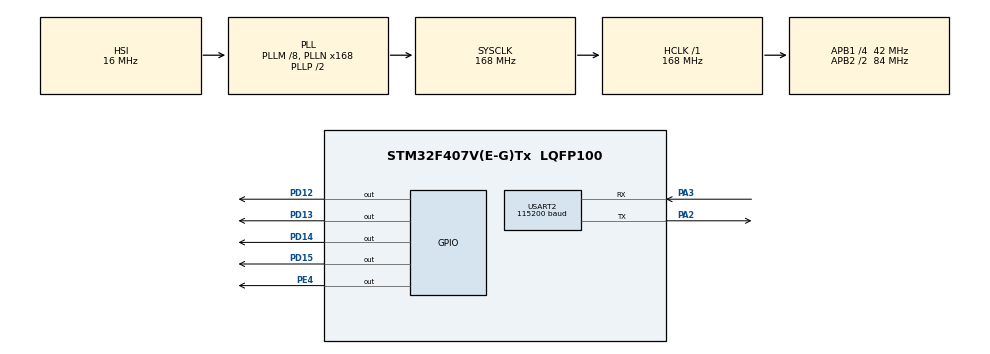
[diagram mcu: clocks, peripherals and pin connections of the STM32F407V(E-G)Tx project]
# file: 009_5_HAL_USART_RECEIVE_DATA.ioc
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Mcu.Family=STM32F4
Mcu.Name=STM32F407V(E-G)Tx
Mcu.Package=LQFP100
NVIC.PriorityGroup=NVIC_PRIORITYGROUP_4
PA2.Mode=Asynchronous
PA2.Signal=USART2_TX
PA3.Mode=Asynchronous
PA3.Signal=USART2_RX
PD12.Signal=GPIO_Output
PD13.Signal=GPIO_Output
PD14.Signal=GPIO_Output
PD15.Signal=GPIO_Output
PE4.Signal=GPIO_Output
ProjectManager.HeapSize=0x200
ProjectManager.StackSize=0x400
ProjectManager.TargetToolchain=STM32CubeIDE
RCC.48MHZClocksFreq_Value=84000000
RCC.AHBFreq_Value=168000000
RCC.APB1CLKDivider=RCC_HCLK_DIV4
RCC.APB1Freq_Value=42000000
RCC.APB1TimFreq_Value=84000000
RCC.APB2CLKDivider=RCC_HCLK_DIV2
RCC.APB2Freq_Value=84000000
RCC.APB2TimFreq_Value=168000000
RCC.CortexFreq_Value=168000000
RCC.HCLKFreq_Value=168000000
RCC.HSE_VALUE=25000000
RCC.HSI_VALUE=16000000
RCC.LSE_VALUE=32768
RCC.PLLM=8
RCC.PLLN=168
RCC.SYSCLKFreq_VALUE=168000000
RCC.SYSCLKSource=RCC_SYSCLKSOURCE_PLLCLK
RCC.VCOOutputFreq_Value=336000000
USART2.BaudRate=115200
USART2.VirtualMode=VM_ASYNC
board=custom

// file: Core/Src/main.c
/* USER CODE BEGIN Header */
/**
  ******************************************************************************
  * @file           : main.c
  * @brief          : Main program body
  ******************************************************************************
  * @attention
  *
  * Copyright (c) 2023 STMicroelectronics.
  * All rights reserved.
  *
  * This software is licensed under terms that can be found in the LICENSE file
  * in the root directory of this software component.
  * If no LICENSE file comes with this software, it is provided AS-IS.
  *
  ******************************************************************************
  */
/* USER CODE END Header */
#include "main.h"

/* USER CODE BEGIN Includes */
#include "string.h"

/* USER CODE END Includes */

UART_HandleTypeDef huart2;

/* USER CODE BEGIN PV */
char rx_buffer[50];

/* USER CODE END PV */

void SystemClock_Config(void);
static void MX_GPIO_Init(void);
static void MX_USART2_UART_Init(void);

int main(void)
{

  /* MCU Configuration--------------------------------------------------------*/

  /* Reset of all peripherals, Initializes the Flash interface and the Systick. */
  HAL_Init();

  /* Configure the system clock */
  SystemClock_Config();

  /* Initialize all configured peripherals */
  MX_GPIO_Init();
  MX_USART2_UART_Init();

  /* Infinite loop */
  while (1)
  {

    /* USER CODE BEGIN 3 */
	  HAL_UART_Receive(&huart2, (uint8_t*)rx_buffer , 50 , 100);
/*
	  if(rx_buffer[0]=='l' && rx_buffer[1]=='e' && rx_buffer[2]=='d' && rx_buffer[3]=='1' && rx_buffer[4]=='=' && rx_buffer[5]=='o')   //o means open(turn on)
	  {
		  HAL_GPIO_WritePin(GPIOD, GPIO_PIN_12, GPIO_PIN_SET);
	  }

	  else if(rx_buffer[0]=='l' && rx_buffer[1]=='e' && rx_buffer[2]=='d' && rx_buffer[3]=='1' && rx_buffer[4]=='=' && rx_buffer[5]=='c')    //c it means close(turn off)
	  {
		  HAL_GPIO_WritePin(GPIOD, GPIO_PIN_12, GPIO_PIN_RESET);
	  }

	  else if(rx_buffer[0]=='l' && rx_buffer[1]=='e' && rx_buffer[2]=='d' && rx_buffer[3]=='2' && rx_buffer[4]=='=' && rx_buffer[5]=='o')
	  	  {
	  		  HAL_GPIO_WritePin(GPIOD, GPIO_PIN_13, GPIO_PIN_SET);
	  	  }

	  else if(rx_buffer[0]=='l' && rx_buffer[1]=='e' && rx_buffer[2]=='d' && rx_buffer[3]=='2' && rx_buffer[4]=='=' && rx_buffer[5]=='c')
		  	  {
		  		  HAL_GPIO_WritePin(GPIOD, GPIO_PIN_13, GPIO_PIN_RESET);
		  	  }

	  else if(rx_buffer[0]=='l' && rx_buffer[1]=='e' && rx_buffer[2]=='d' && rx_buffer[3]=='3' && rx_buffer[4]=='=' && rx_buffer[5]=='o')
		  	  {
		  		  HAL_GPIO_WritePin(GPIOD, GPIO_PIN_14, GPIO_PIN_SET);
		  	  }

	  else if(rx_buffer[0]=='l' && rx_buffer[1]=='e' && rx_buffer[2]=='d' && rx_buffer[3]=='3' && rx_buffer[4]=='=' && rx_buffer[5]=='c')
			  	  {
			  		  HAL_GPIO_WritePin(GPIOD, GPIO_PIN_14, GPIO_PIN_RESET);
			  	  }

	  else if(rx_buffer[0]=='l' && rx_buffer[1]=='e' && rx_buffer[2]=='d' && rx_buffer[3]=='4' && rx_buffer[4]=='=' && rx_buffer[5]=='o')
			  	  {
			  		  HAL_GPIO_WritePin(GPIOD, GPIO_PIN_15, GPIO_PIN_SET);
			  	  }

	  else if(rx_buffer[0]=='l' && rx_buffer[1]=='e' && rx_buffer[2]=='d' && rx_buffer[3]=='3' && rx_buffer[4]=='=' && rx_buffer[5]=='c')
			  	  {
			  		  HAL_GPIO_WritePin(GPIOD, GPIO_PIN_15, GPIO_PIN_RESET);
			  	  }

	  else if(rx_buffer[0]=='o' && rx_buffer[1]=='p' && rx_buffer[2]=='e' && rx_buffer[3]=='n')
	  			  	  {
	  			  		  HAL_GPIO_WritePin(GPIOD, GPIO_PIN_12 | GPIO_PIN_13 | GPIO_PIN_14 | GPIO_PIN_15, GPIO_PIN_SET);
	  			  	  }

	  else if(rx_buffer[0]=='c' && rx_buffer[1]=='l' && rx_buffer[2]=='o' && rx_buffer[3]=='s' && rx_buffer[4]=='e')
			  	  {
			  		  HAL_GPIO_WritePin(GPIOD, GPIO_PIN_12 | GPIO_PIN_13 | GPIO_PIN_14 | GPIO_PIN_15, GPIO_PIN_RESET);
			  	  }

	  //PE4 output olarak seçtim ve led bagladım
	  else if(rx_buffer[0]=='p' && rx_buffer[1]=='e' && rx_buffer[2]=='4' && rx_buffer[3]=='=' && rx_buffer[4]=='o')
				  	  {
		  HAL_GPIO_WritePin(GPIOE, GPIO_PIN_4 , GPIO_PIN_SET);
				  	  }

	  else if(rx_buffer[0]=='p' && rx_buffer[1]=='e' && rx_buffer[2]=='4' && rx_buffer[3]=='=' && rx_buffer[4]=='c')
					  	  {
		  HAL_GPIO_WritePin(GPIOE, GPIO_PIN_4 , GPIO_PIN_RESET);
					  	  }
*/

	  //karakterlere tek tek bakmadan bu şekilde yapabiliriz
	  //strncmp str1 parametresi ile gösterilen karakter dizisinin, n parametre değeri kadar ilk karakterini, str2 parametresi ile gösterilen karakter dizisi ile karşılaştırır.
     //Eğer her iki karakter dizisindeki tüm karakterler aynı ise sıfır değeri, aksi takdirde sıfırdan farklı bir değer geri döndürür.

	  if (strncmp(rx_buffer, "led1=o", 6) == 0)
	  {    HAL_GPIO_WritePin(GPIOD, GPIO_PIN_12, GPIO_PIN_SET);}

	  else if (strncmp(rx_buffer, "led1=c", 6) == 0)
	    {  HAL_GPIO_WritePin(GPIOD, GPIO_PIN_12, GPIO_PIN_RESET); }

	  else if (strncmp(rx_buffer, "led2=o", 6) == 0)
	         { HAL_GPIO_WritePin(GPIOD, GPIO_PIN_13, GPIO_PIN_SET);  }

	  else if (strncmp(rx_buffer, "led2=c", 6) == 0)
	  {         HAL_GPIO_WritePin(GPIOD, GPIO_PIN_13, GPIO_PIN_RESET);  }

	  else if (strncmp(rx_buffer, "led3=o", 6) == 0)
	  {   HAL_GPIO_WritePin(GPIOD, GPIO_PIN_14, GPIO_PIN_SET); }

	  else if (strncmp(rx_buffer, "led3=c", 6) == 0)
	  { HAL_GPIO_WritePin(GPIOD, GPIO_PIN_14, GPIO_PIN_RESET);

	  } else if (strncmp(rx_buffer, "led4=o", 6) == 0)
	  {HAL_GPIO_WritePin(GPIOD, GPIO_PIN_15, GPIO_PIN_SET); }

	  else if (strncmp(rx_buffer, "led4=c", 6) == 0)
	  { HAL_GPIO_WritePin(GPIOD, GPIO_PIN_15, GPIO_PIN_RESET); }

	  else if (strncmp(rx_buffer, "open", 4) == 0)
	  {HAL_GPIO_WritePin(GPIOD, GPIO_PIN_12 | GPIO_PIN_13 | GPIO_PIN_14 | GPIO_PIN_15, GPIO_PIN_SET);}

	  else if (strncmp(rx_buffer, "close", 5) == 0)
	  { HAL_GPIO_WritePin(GPIOD, GPIO_PIN_12 | GPIO_PIN_13 | GPIO_PIN_14 | GPIO_PIN_15, GPIO_PIN_RESET);}

	  // else if (strcmp(rx_buffer, "pe4=o")== 0)
	//strcmp ile yine tamamını karsılastırabilirim ama bu sefer led sürekli yanıyor???
	  else if (strncmp(rx_buffer, "pe4=o", 5) == 0)
	          { HAL_GPIO_WritePin(GPIOE, GPIO_PIN_4, GPIO_PIN_SET); }

      else if (strncmp(rx_buffer, "pe4=c", 5) == 0)
      { HAL_GPIO_WritePin(GPIOE, GPIO_PIN_4, GPIO_PIN_RESET);}
  }

  /* USER CODE END 3 */
}

void SystemClock_Config(void)
{
  RCC_OscInitTypeDef RCC_OscInitStruct = {0};
  RCC_ClkInitTypeDef RCC_ClkInitStruct = {0};

  /** Configure the main internal regulator output voltage
  */
  __HAL_RCC_PWR_CLK_ENABLE();
  __HAL_PWR_VOLTAGESCALING_CONFIG(PWR_REGULATOR_VOLTAGE_SCALE1);

  /** Initializes the RCC Oscillators according to the specified parameters
  * in the RCC_OscInitTypeDef structure.
  */
  RCC_OscInitStruct.OscillatorType = RCC_OSCILLATORTYPE_HSI;
  RCC_OscInitStruct.HSIState = RCC_HSI_ON;
  RCC_OscInitStruct.HSICalibrationValue = RCC_HSICALIBRATION_DEFAULT;
  RCC_OscInitStruct.PLL.PLLState = RCC_PLL_ON;
  RCC_OscInitStruct.PLL.PLLSource = RCC_PLLSOURCE_HSI;
  RCC_OscInitStruct.PLL.PLLM = 8;
  RCC_OscInitStruct.PLL.PLLN = 168;
  RCC_OscInitStruct.PLL.PLLP = RCC_PLLP_DIV2;
  RCC_OscInitStruct.PLL.PLLQ = 4;
  if (HAL_RCC_OscConfig(&RCC_OscInitStruct) != HAL_OK)
  {
    Error_Handler();
  }

  /** Initializes the CPU, AHB and APB buses clocks
  */
  RCC_ClkInitStruct.ClockType = RCC_CLOCKTYPE_HCLK|RCC_CLOCKTYPE_SYSCLK
                              |RCC_CLOCKTYPE_PCLK1|RCC_CLOCKTYPE_PCLK2;
  RCC_ClkInitStruct.SYSCLKSource = RCC_SYSCLKSOURCE_PLLCLK;
  RCC_ClkInitStruct.AHBCLKDivider = RCC_SYSCLK_DIV1;
  RCC_ClkInitStruct.APB1CLKDivider = RCC_HCLK_DIV4;
  RCC_ClkInitStruct.APB2CLKDivider = RCC_HCLK_DIV2;

  if (HAL_RCC_ClockConfig(&RCC_ClkInitStruct, FLASH_LATENCY_5) != HAL_OK)
  {
    Error_Handler();
  }
}

static void MX_USART2_UART_Init(void)
{

  huart2.Instance = USART2;
  huart2.Init.BaudRate = 115200;
  huart2.Init.WordLength = UART_WORDLENGTH_8B;
  huart2.Init.StopBits = UART_STOPBITS_1;
  huart2.Init.Parity = UART_PARITY_NONE;
  huart2.Init.Mode = UART_MODE_TX_RX;
  huart2.Init.HwFlowCtl = UART_HWCONTROL_NONE;
  huart2.Init.OverSampling = UART_OVERSAMPLING_16;
  if (HAL_UART_Init(&huart2) != HAL_OK)
  {
    Error_Handler();
  }

}

static void MX_GPIO_Init(void)
{
  GPIO_InitTypeDef GPIO_InitStruct = {0};

  /* GPIO Ports Clock Enable */
  __HAL_RCC_GPIOE_CLK_ENABLE();
  __HAL_RCC_GPIOA_CLK_ENABLE();
  __HAL_RCC_GPIOD_CLK_ENABLE();

  /*Configure GPIO pin Output Level */
  HAL_GPIO_WritePin(GPIOE, GPIO_PIN_4, GPIO_PIN_RESET);

  /*Configure GPIO pin Output Level */
  HAL_GPIO_WritePin(GPIOD, GPIO_PIN_12|GPIO_PIN_13|GPIO_PIN_14|GPIO_PIN_15, GPIO_PIN_RESET);

  /*Configure GPIO pin : PE4 */
  GPIO_InitStruct.Pin = GPIO_PIN_4;
  GPIO_InitStruct.Mode = GPIO_MODE_OUTPUT_PP;
  GPIO_InitStruct.Pull = GPIO_NOPULL;
  GPIO_InitStruct.Speed = GPIO_SPEED_FREQ_LOW;
  HAL_GPIO_Init(GPIOE, &GPIO_InitStruct);

  /*Configure GPIO pins : PD12 PD13 PD14 PD15 */
  GPIO_InitStruct.Pin = GPIO_PIN_12|GPIO_PIN_13|GPIO_PIN_14|GPIO_PIN_15;
  GPIO_InitStruct.Mode = GPIO_MODE_OUTPUT_PP;
  GPIO_InitStruct.Pull = GPIO_NOPULL;
  GPIO_InitStruct.Speed = GPIO_SPEED_FREQ_LOW;
  HAL_GPIO_Init(GPIOD, &GPIO_InitStruct);

}

void Error_Handler(void)
{
  __disable_irq();
  while (1)
  {
  }
}
